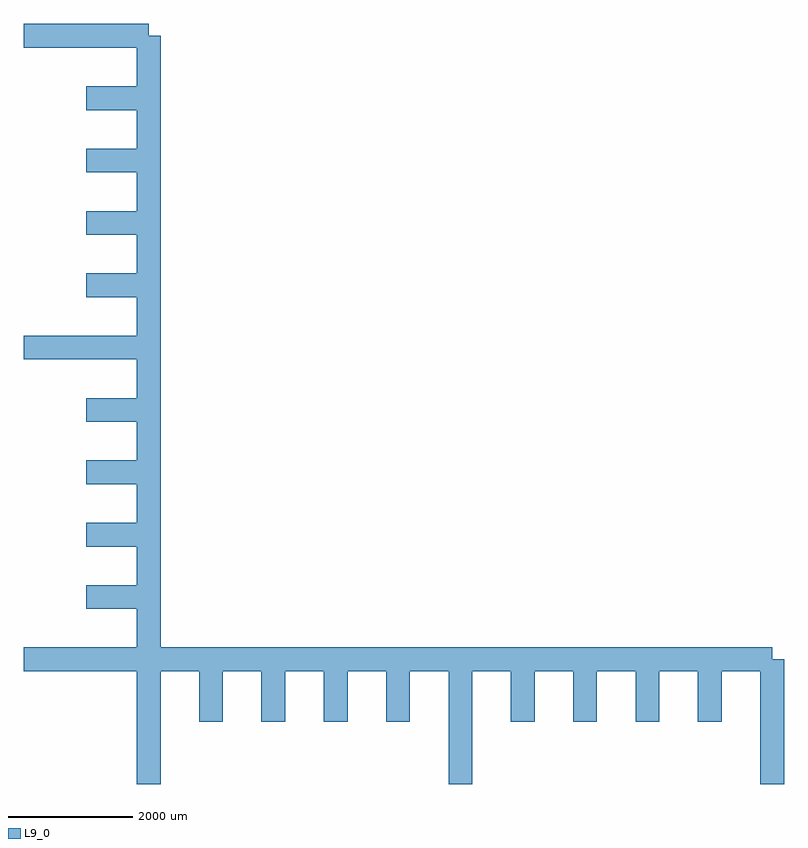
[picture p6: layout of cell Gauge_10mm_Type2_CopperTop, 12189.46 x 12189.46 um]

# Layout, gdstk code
import gdstk
lib = gdstk.Library(unit=1e-6, precision=1e-09)
L9_0 = (9, 0)

gauge_10mm_type2_coppert = lib.new_cell('Gauge_10mm_Type2_CopperTop')
gauge_10mm_type2_coppert.add(gdstk.FlexPath([(9999.98,0),(9999.98,-1998.98)], 380.998, ends="flush", simple_path=True, layer=9, datatype=0))  # L9_0
gauge_10mm_type2_coppert.add(gdstk.FlexPath([(0,0),(9999.98,0)], 380.998, ends="flush", simple_path=True, layer=9, datatype=0))  # L9_0
gauge_10mm_type2_coppert.add(gdstk.FlexPath([(0,0),(0,-1998.98)], 380.998, ends="flush", simple_path=True, layer=9, datatype=0))  # L9_0
gauge_10mm_type2_coppert.add(gdstk.FlexPath([(5001.26,0),(5001.26,-1998.98)], 380.998, ends="flush", simple_path=True, layer=9, datatype=0))  # L9_0
gauge_10mm_type2_coppert.add(gdstk.FlexPath([(1000.76,0),(1000.76,-1000.76)], 380.998, ends="flush", simple_path=True, layer=9, datatype=0))  # L9_0
gauge_10mm_type2_coppert.add(gdstk.FlexPath([(1998.98,0),(1998.98,-1000.76)], 380.998, ends="flush", simple_path=True, layer=9, datatype=0))  # L9_0
gauge_10mm_type2_coppert.add(gdstk.FlexPath([(2999.74,0),(2999.74,-1000.76)], 380.998, ends="flush", simple_path=True, layer=9, datatype=0))  # L9_0
gauge_10mm_type2_coppert.add(gdstk.FlexPath([(4000.5,0),(4000.5,-1000.76)], 380.998, ends="flush", simple_path=True, layer=9, datatype=0))  # L9_0
gauge_10mm_type2_coppert.add(gdstk.FlexPath([(5999.48,0),(5999.48,-1000.76)], 380.998, ends="flush", simple_path=True, layer=9, datatype=0))  # L9_0
gauge_10mm_type2_coppert.add(gdstk.FlexPath([(7000.24,0),(7000.24,-1000.76)], 380.998, ends="flush", simple_path=True, layer=9, datatype=0))  # L9_0
gauge_10mm_type2_coppert.add(gdstk.FlexPath([(8001,0),(8001,-1000.76)], 380.998, ends="flush", simple_path=True, layer=9, datatype=0))  # L9_0
gauge_10mm_type2_coppert.add(gdstk.FlexPath([(8999.22,0),(8999.22,-1000.76)], 380.998, ends="flush", simple_path=True, layer=9, datatype=0))  # L9_0
gauge_10mm_type2_coppert.add(gdstk.FlexPath([(0,0),(0,9999.98)], 380.998, ends="flush", simple_path=True, layer=9, datatype=0))  # L9_0
gauge_10mm_type2_coppert.add(gdstk.FlexPath([(0,9999.98),(-1998.98,9999.98)], 380.998, ends="flush", simple_path=True, layer=9, datatype=0))  # L9_0
gauge_10mm_type2_coppert.add(gdstk.FlexPath([(0,0),(-1998.98,0)], 380.998, ends="flush", simple_path=True, layer=9, datatype=0))  # L9_0
gauge_10mm_type2_coppert.add(gdstk.FlexPath([(0,5001.26),(-1998.98,5001.26)], 380.998, ends="flush", simple_path=True, layer=9, datatype=0))  # L9_0
gauge_10mm_type2_coppert.add(gdstk.FlexPath([(0,1000.76),(-1000.76,1000.76)], 380.998, ends="flush", simple_path=True, layer=9, datatype=0))  # L9_0
gauge_10mm_type2_coppert.add(gdstk.FlexPath([(0,1998.98),(-1000.76,1998.98)], 380.998, ends="flush", simple_path=True, layer=9, datatype=0))  # L9_0
gauge_10mm_type2_coppert.add(gdstk.FlexPath([(0,2999.74),(-1000.76,2999.74)], 380.998, ends="flush", simple_path=True, layer=9, datatype=0))  # L9_0
gauge_10mm_type2_coppert.add(gdstk.FlexPath([(0,4000.5),(-1000.76,4000.5)], 380.998, ends="flush", simple_path=True, layer=9, datatype=0))  # L9_0
gauge_10mm_type2_coppert.add(gdstk.FlexPath([(0,5999.48),(-1000.76,5999.48)], 380.998, ends="flush", simple_path=True, layer=9, datatype=0))  # L9_0
gauge_10mm_type2_coppert.add(gdstk.FlexPath([(0,7000.24),(-1000.76,7000.24)], 380.998, ends="flush", simple_path=True, layer=9, datatype=0))  # L9_0
gauge_10mm_type2_coppert.add(gdstk.FlexPath([(0,8001),(-1000.76,8001)], 380.998, ends="flush", simple_path=True, layer=9, datatype=0))  # L9_0
gauge_10mm_type2_coppert.add(gdstk.FlexPath([(0,8999.22),(-1000.76,8999.22)], 380.998, ends="flush", simple_path=True, layer=9, datatype=0))  # L9_0
gauge_10mm_type2_coppert.add(gdstk.Label('10mm', (9999.98,-2700.02), layer=9, texttype=0))
gauge_10mm_type2_coppert.add(gdstk.Label('0', (0,-2799.08), layer=9, texttype=0))
gauge_10mm_type2_coppert.add(gdstk.Label('5', (4998.72,-2900.68), layer=9, texttype=0))
gauge_10mm_type2_coppert.add(gdstk.Label('0', (-3101.34,0), layer=9, texttype=0))
gauge_10mm_type2_coppert.add(gdstk.Label('5', (-3101.34,4899.66), layer=9, texttype=0))
gauge_10mm_type2_coppert.add(gdstk.Label('10mm', (-3901.44,9999.98), layer=9, texttype=0))
gauge_10mm_type2_coppert.add(gdstk.Label('type', (10200.64,-4800.6), layer=9, texttype=0))
gauge_10mm_type2_coppert.add(gdstk.Label('devicename', (-7698.74,200.66), layer=9, texttype=0))

lib.write_gds('Gauge_10mm_Type2_CopperTop.gds')
